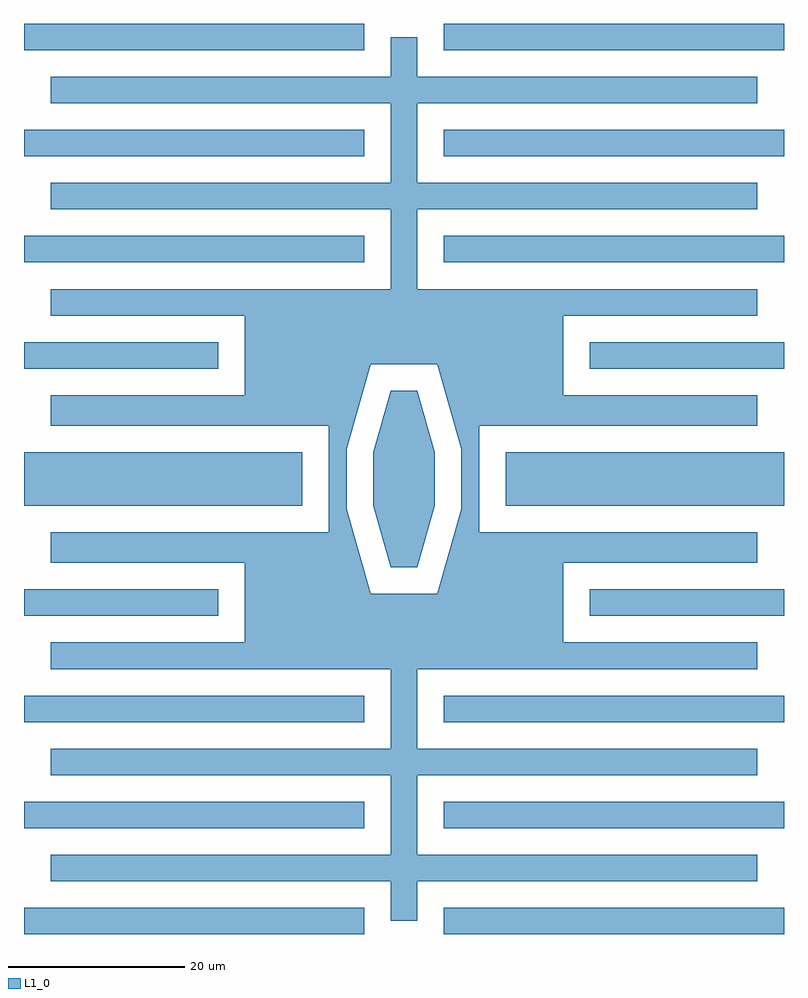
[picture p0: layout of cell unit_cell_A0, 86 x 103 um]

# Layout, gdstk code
from math import pi, radians
import gdstk
lib = gdstk.Library(unit=1e-6, precision=1e-09)
def R(c, l, rs):  # rectangles x0, y0, x1, y1
    for r in rs: c.add(gdstk.rectangle(r[:2], r[2:], *l))
def P(c, l, *ps):  # polygons
    for p in ps: c.add(gdstk.Polygon(p, *l))
L1_0 = (1, 0)

unnamed_311 = lib.new_cell('Unnamed_311')
P(unnamed_311, L1_0, [(38.5,0),(38.5,4.5),(0,4.5),(0,7.5),(38.5,7.5),(38.5,16.5),(0,16.5),(0,19.5),(38.5,19.5),(38.5,28.5),(0,28.5),(0,31.5),(22,31.5),(22,40.5),(0,40.5),(0,44),(31.5,44),(31.5,50),(33.5,50),(33.5,46.58),(36.237,37),(40,37),(40,0)])

straight_l38p5_n2_csxs_e = lib.new_cell('straight_L38p5_N2_CSxs_e9659eb0')
R(straight_l38p5_n2_csxs_e, L1_0, [(0,-1.5,38.5,1.5)])

straight_array_n3_s9_l3_ = lib.new_cell('straight_array_N3_S9_L3_b91b2c6a')
straight_array_n3_s9_l3_.add(gdstk.Reference(straight_l38p5_n2_csxs_e, (0,0)))
straight_array_n3_s9_l3_.add(gdstk.Reference(straight_l38p5_n2_csxs_e, (0,12)))
straight_array_n3_s9_l3_.add(gdstk.Reference(straight_l38p5_n2_csxs_e, (0,24)))

straight_l22_n2_csxs_e96 = lib.new_cell('straight_L22_N2_CSxs_e9659eb0')
R(straight_l22_n2_csxs_e96, L1_0, [(0,-1.5,22,1.5)])

unnamed_308 = lib.new_cell('Unnamed_308')
unnamed_308.add(gdstk.Reference(straight_array_n3_s9_l3_, (-3,0)))
unnamed_308.add(gdstk.Reference(straight_l22_n2_csxs_e96, (-3,36)))

straight_l31p5_n2_csxs_4 = lib.new_cell('straight_L31p5_N2_CSxs_41e8578a')
R(straight_l31p5_n2_csxs_4, L1_0, [(0,-3,31.5,3)])

triangle_x10_x3_y5_y3_l1 = lib.new_cell('triangle_X10_X3_Y5_Y3_L1_0')
P(triangle_x10_x3_y5_y3_l1, L1_0, [(0,0),(0,5),(3,5),(10,3),(10,0)])

unnamed_309 = lib.new_cell('Unnamed_309')
unnamed_309.add(gdstk.Reference(straight_l31p5_n2_csxs_4, (-3,50)))
unnamed_309.add(gdstk.Reference(triangle_x10_x3_y5_y3_l1, (41.5,50), rotation=3*pi/2, x_reflection=True))

unnamed_312 = lib.new_cell('Unnamed_312')
unnamed_312.add(gdstk.Reference(unnamed_311, (0,0)))
unnamed_312.add(gdstk.Reference(unnamed_308, (0,0)))
unnamed_312.add(gdstk.Reference(unnamed_309, (0,0)))

rectangle_s2_0p6_lwg_cf_ = lib.new_cell('rectangle_S2_0p6_LWG_CF_a6a46f17')
R(rectangle_s2_0p6_lwg_cf_, L1_0, [(0,0,2,0.6)])

rectangle_s0p2_1p2_lwg__ = lib.new_cell('rectangle_S0p2_1p2_LWG__107b6a9b')
R(rectangle_s0p2_1p2_lwg__, L1_0, [(0,0,0.2,1.2)])

unnamed_313 = lib.new_cell('Unnamed_313')
unnamed_313.add(gdstk.Reference(rectangle_s2_0p6_lwg_cf_, (0,0)))
unnamed_313.add(gdstk.Reference(rectangle_s0p2_1p2_lwg__, (2.8,-0.6)))

unit_cell_a0 = lib.new_cell('unit_cell_A0')
unit_cell_a0.add(gdstk.Reference(unnamed_312, (0,0)))
unit_cell_a0.add(gdstk.Reference(unnamed_312, (80,0), rotation=pi, x_reflection=True))
unit_cell_a0.add(gdstk.Reference(unnamed_312, (0,100), x_reflection=True))
unit_cell_a0.add(gdstk.Reference(unnamed_312, (80,100), rotation=pi))
unit_cell_a0.add(gdstk.Reference(unnamed_313, (38.5,50)))
unit_cell_a0.add(gdstk.Reference(unnamed_313, (38.5,50), x_reflection=True))

lib.write_gds('unit_cell_A0.gds')
